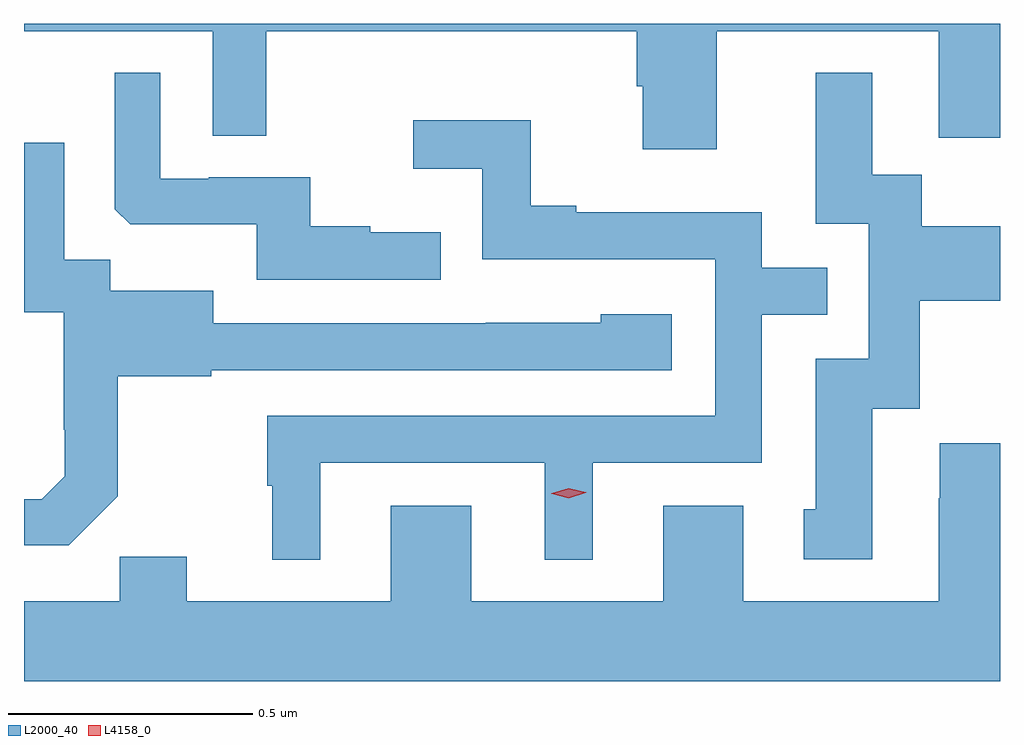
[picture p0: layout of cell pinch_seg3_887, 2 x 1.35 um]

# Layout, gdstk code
import gdstk
lib = gdstk.Library(unit=1e-6, precision=1e-09)
def P(c, l, *ps):  # polygons
    for p in ps: c.add(gdstk.Polygon(p, *l))
L2000_40 = (2000, 40)
L4158_0 = (4158, 0)

pinch_seg3_887 = lib.new_cell('pinch_seg3_887')
P(pinch_seg3_887, L2000_40, [(739.081,683.6),(739.535,683.6),(739.535,683.382),(739.661,683.382),(739.661,683.615),(737.661,683.615),(737.661,683.6),(738.048,683.6),(738.048,683.386),(738.157,683.386),(738.157,683.6),(738.917,683.6),(738.917,683.487),(738.929,683.487),(738.929,683.358),(739.081,683.358)],
  [(739.399,682.826),(739.497,682.826),(739.497,683.048),(739.661,683.048),(739.661,683.2),(739.501,683.2),(739.501,683.306),(739.399,683.306),(739.399,683.515),(739.283,683.515),(739.283,683.205),(739.392,683.205),(739.392,682.929),(739.283,682.929),(739.283,682.62),(739.259,682.62),(739.259,682.518),(739.399,682.518)],
  [(738.515,683.188),(738.371,683.188),(738.371,683.2),(738.248,683.2),(738.248,683.301),(738.04,683.301),(738.04,683.298),(737.94,683.298),(737.94,683.515),(737.847,683.515),(737.847,683.235),(737.879,683.204),(738.138,683.204),(738.138,683.091),(738.515,683.091)],
  [(738.268,682.716),(738.728,682.716),(738.728,682.517),(738.826,682.517),(738.826,682.716),(739.173,682.716),(739.173,683.019),(739.307,683.019),(739.307,683.115),(739.173,683.115),(739.173,683.229),(738.793,683.229),(738.793,683.242),(738.699,683.242),(738.699,683.417),(738.459,683.417),(738.459,683.318),(738.6,683.318),(738.6,683.133),(739.077,683.133),(739.077,682.812),(738.159,682.812),(738.159,682.668),(738.17,682.668),(738.17,682.517),(738.268,682.517)],
  [(737.853,682.647),(737.853,682.893),(738.045,682.893),(738.045,682.905),(738.988,682.905),(738.988,683.02),(738.843,683.02),(738.843,683.002),(738.607,683.002),(738.607,683.001),(738.049,683.001),(738.049,683.068),(737.838,683.068),(737.838,683.132),(737.743,683.132),(737.743,683.371),(737.661,683.371),(737.661,683.024),(737.742,683.024),(737.742,682.783),(737.744,682.783),(737.744,682.688),(737.697,682.641),(737.661,682.641),(737.661,682.547),(737.753,682.547)],
  [(739.661,682.756),(739.538,682.756),(739.538,682.643),(739.535,682.643),(739.535,682.432),(739.135,682.432),(739.135,682.627),(738.971,682.627),(738.971,682.432),(738.577,682.432),(738.577,682.627),(738.413,682.627),(738.413,682.432),(737.995,682.432),(737.995,682.523),(737.857,682.523),(737.857,682.432),(737.661,682.432),(737.661,682.268),(739.661,682.268)])
P(pinch_seg3_887, L4158_0, [(738.777,682.643),(738.742,682.652),(738.741,682.652),(738.742,682.653),(738.777,682.663),(738.812,682.655),(738.813,682.655),(738.812,682.654)])

lib.write_gds('pinch_seg3_887.gds')
